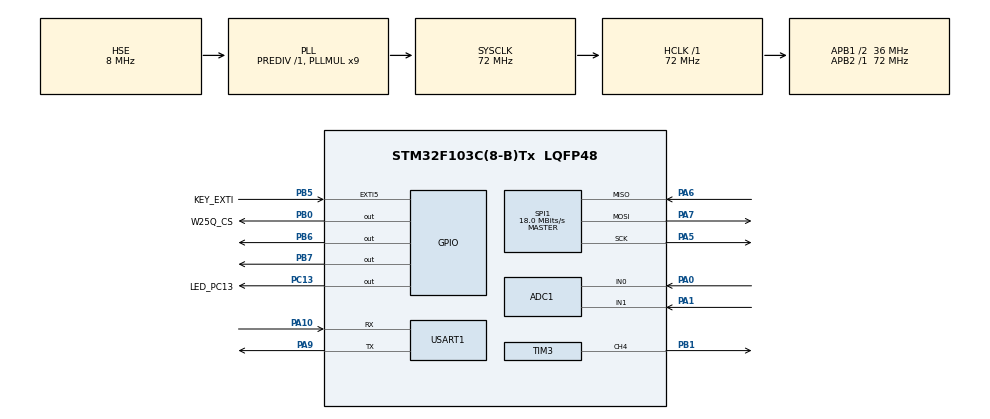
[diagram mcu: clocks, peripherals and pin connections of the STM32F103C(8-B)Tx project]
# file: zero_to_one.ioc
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ADC1.Channel-0\#ChannelRegularConversion=ADC_CHANNEL_0
ADC1.Channel-1\#ChannelRegularConversion=ADC_CHANNEL_1
ADC1.ExternalTrigConv=ADC_EXTERNALTRIGCONV_T1_CC1
ADC1.NbrOfConversion=2
ADC1.NbrOfConversionFlag=1
ADC1.Rank-0\#ChannelRegularConversion=1
ADC1.Rank-1\#ChannelRegularConversion=2
ADC1.SamplingTime-0\#ChannelRegularConversion=ADC_SAMPLETIME_55CYCLES_5
ADC1.SamplingTime-1\#ChannelRegularConversion=ADC_SAMPLETIME_55CYCLES_5
ADC1.master=1
Dma.ADC1.1.Direction=DMA_PERIPH_TO_MEMORY
Dma.ADC1.1.Instance=DMA1_Channel1
Dma.ADC1.1.MemDataAlignment=DMA_MDATAALIGN_HALFWORD
Dma.ADC1.1.MemInc=DMA_MINC_ENABLE
Dma.ADC1.1.Mode=DMA_CIRCULAR
Dma.ADC1.1.PeriphDataAlignment=DMA_PDATAALIGN_HALFWORD
Dma.ADC1.1.PeriphInc=DMA_PINC_DISABLE
Dma.ADC1.1.Priority=DMA_PRIORITY_HIGH
Dma.Request0=USART1_RX
Dma.Request1=ADC1
Dma.USART1_RX.0.Direction=DMA_PERIPH_TO_MEMORY
Dma.USART1_RX.0.Instance=DMA1_Channel5
Dma.USART1_RX.0.MemDataAlignment=DMA_MDATAALIGN_BYTE
Dma.USART1_RX.0.MemInc=DMA_MINC_ENABLE
Dma.USART1_RX.0.Mode=DMA_CIRCULAR
Dma.USART1_RX.0.PeriphDataAlignment=DMA_PDATAALIGN_BYTE
Dma.USART1_RX.0.PeriphInc=DMA_PINC_DISABLE
Dma.USART1_RX.0.Priority=DMA_PRIORITY_LOW
FREERTOS.Tasks01=defaultTask,0,128,StartDefaultTask,Default,NULL,Dynamic,NULL,NULL
FREERTOS.configTOTAL_HEAP_SIZE=8192
IWDG.Prescaler=IWDG_PRESCALER_256
IWDG.Reload=234
Mcu.Family=STM32F1
Mcu.Name=STM32F103C(8-B)Tx
Mcu.Package=LQFP48
NVIC.DMA1_Channel1_IRQn=true\:5\:0\:false\:false\:true\:true\:false\:true\:true
NVIC.DMA1_Channel5_IRQn=true\:5\:0\:false\:false\:true\:true\:false\:true\:true
NVIC.EXTI9_5_IRQn=true\:5\:0\:true\:false\:true\:true\:true\:true\:true
NVIC.PriorityGroup=NVIC_PRIORITYGROUP_4
NVIC.TIM2_IRQn=true\:5\:0\:false\:false\:true\:true\:true\:true\:true
NVIC.TIM4_IRQn=true\:15\:0\:false\:false\:true\:false\:false\:true\:true
NVIC.TimeBase=TIM4_IRQn
NVIC.TimeBaseIP=TIM4
NVIC.USART1_IRQn=true\:5\:0\:false\:false\:true\:true\:true\:true\:true
PA0-WKUP.Signal=ADCx_IN0
PA1.Signal=ADCx_IN1
PA10.Mode=Asynchronous
PA10.Signal=USART1_RX
PA13.Mode=Serial_Wire
PA13.Signal=SYS_JTMS-SWDIO
PA14.Mode=Serial_Wire
PA14.Signal=SYS_JTCK-SWCLK
PA5.Mode=Full_Duplex_Master
PA5.Signal=SPI1_SCK
PA6.Mode=Full_Duplex_Master
PA6.Signal=SPI1_MISO
PA7.Mode=Full_Duplex_Master
PA7.Signal=SPI1_MOSI
PA9.Mode=Asynchronous
PA9.Signal=USART1_TX
PB0.GPIO_Label=W25Q_CS
PB0.PinState=GPIO_PIN_SET
PB0.Signal=GPIO_Output
PB1.Signal=S_TIM3_CH4
PB5.GPIO_Label=KEY_EXTI
PB5.GPIO_ModeDefaultEXTI=GPIO_MODE_IT_FALLING
PB5.GPIO_PuPd=GPIO_PULLUP
PB5.Signal=GPXTI5
PB6.GPIO_ModeDefaultOutputPP=GPIO_MODE_OUTPUT_OD
PB6.GPIO_PuPd=GPIO_PULLUP
PB6.Signal=GPIO_Output
PB7.GPIO_ModeDefaultOutputPP=GPIO_MODE_OUTPUT_OD
PB7.GPIO_PuPd=GPIO_PULLUP
PB7.Signal=GPIO_Output
PC13-TAMPER-RTC.GPIO_Label=LED_PC13
PC13-TAMPER-RTC.Signal=GPIO_Output
PD0-OSC_IN.Mode=HSE-External-Oscillator
PD0-OSC_IN.Signal=RCC_OSC_IN
PD1-OSC_OUT.Mode=HSE-External-Oscillator
PD1-OSC_OUT.Signal=RCC_OSC_OUT
ProjectManager.HeapSize=0x200
ProjectManager.StackSize=0x400
ProjectManager.TargetToolchain=CMake
RCC.ADCPresc=RCC_ADCPCLK2_DIV6
RCC.AHBFreq_Value=72000000
RCC.APB1CLKDivider=RCC_HCLK_DIV2
RCC.APB1Freq_Value=36000000
RCC.APB1TimFreq_Value=72000000
RCC.APB2Freq_Value=72000000
RCC.APB2TimFreq_Value=72000000
RCC.HCLKFreq_Value=72000000
RCC.PLLMUL=RCC_PLL_MUL9
RCC.PLLSourceVirtual=RCC_PLLSOURCE_HSE
RCC.SYSCLKFreq_VALUE=72000000
RCC.SYSCLKSource=RCC_SYSCLKSOURCE_PLLCLK
RCC.USBFreq_Value=72000000
SH.ADCx_IN0.0=ADC1_IN0,IN0
SH.ADCx_IN1.0=ADC1_IN1,IN1
SH.S_TIM3_CH4.0=TIM3_CH4,PWM Generation4 CH4
SPI1.BaudRatePrescaler=SPI_BAUDRATEPRESCALER_4
SPI1.CalculateBaudRate=18.0 MBits/s
SPI1.Direction=SPI_DIRECTION_2LINES
SPI1.Mode=SPI_MODE_MASTER
SPI1.VirtualType=VM_MASTER
TIM1.Channel-PWM\ Generation1\ No\ Output=TIM_CHANNEL_1
TIM1.Period=999
TIM1.Prescaler=7199
TIM1.TIM_MasterOutputTrigger=TIM_TRGO_UPDATE
TIM2.AutoReloadPreload=TIM_AUTORELOAD_PRELOAD_ENABLE
TIM2.Period=9
TIM2.Prescaler=7199
TIM3.Channel-PWM\ Generation4\ CH4=TIM_CHANNEL_4
TIM3.OCPolarity_4=TIM_OCPOLARITY_LOW
TIM3.Period=999
TIM3.Prescaler=71
USART1.VirtualMode=VM_ASYNC
VP_FREERTOS_VS_CMSIS_V1.Mode=CMSIS_V1
VP_IWDG_VS_IWDG.Mode=IWDG_Activate
VP_SYS_VS_tim4.Mode=TIM4
VP_TIM1_VS_ClockSourceINT.Mode=Internal
VP_TIM1_VS_no_output1.Mode=PWM Generation1 No Output
VP_TIM2_VS_ClockSourceINT.Mode=Internal
board=custom

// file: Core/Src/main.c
/* USER CODE BEGIN Header */
/**
  ******************************************************************************
  * @file           : main.c
  * @brief          : Main program body
  ******************************************************************************
  * @attention
  *
  * Copyright (c) 2026 STMicroelectronics.
  * All rights reserved.
  *
  * This software is licensed under terms that can be found in the LICENSE file
  * in the root directory of this software component.
  * If no LICENSE file comes with this software, it is provided AS-IS.
  *
  ******************************************************************************
  */
/* USER CODE END Header */
#include "main.h"
#include "cmsis_os.h"
#include "adc.h"
#include "dma.h"
#include "iwdg.h"
#include "spi.h"
#include "tim.h"
#include "usart.h"
#include "gpio.h"

/* USER CODE BEGIN Includes */
#include "key.h"
#include "console.h"
#include "watchdog.h"   /* 阶段4：WDG_Feed 由 TIM2 节拍 ISR 调用 */
#include "ssd1306.h"   /* 阶段5：OLED 驱动 + UI 层（SSD1306_UI_*） */
#include "mpu6050.h"   /* 阶段6：MPU6050 I2C 驱动（Init/SelfTest/ReadAll/Begin/Process） */
#include "soft_i2c.h"  /* 阶段3：软件 I2C 驱动（替代硬件 I2C，消除 BUSY 锁死） */
#include "env.h"       /* 阶段7：温度/光照采集（ENV_Init / ENV_Process / g_env） */
/* USER CODE END Includes */

/* USER CODE BEGIN PV */
/* 按键相关状态已封装到 key.c（key.h 提供 Key_Init / Key_Process / Key_EXTI_Callback 接口） */
volatile uint32_t g_systick_ms = 0;   /* TIM2 1ms 节拍计数器，由 HAL_TIM_PeriodElapsedCallback 累加 */
volatile uint32_t g_main_feed_ms = 0;   /* 主循环活体时间戳：每圈正常跑完即刷新；喂狗门控据此判断是否卡死 */
/* 注：g_mpu / g_mpu_ok 已下沉到 mpu6050.c（见 mpu6050.h 的 extern 声明），供 UI/控制台使用 */
/* USER CODE END PV */

void SystemClock_Config(void);
void MX_FREERTOS_Init(void);
/* USER CODE BEGIN PFP */
/* 蜂鸣器驱动已独立成 buzzzer.c（Buzzer_On/Buzzer_Off/Buzzer_Beep/Buzzer_Process，
 * TIM3_CH4 PWM），由 key.c 与 console.c 通过 buzzer.h 调用 */
/* USER CODE END PFP */

int main(void)
{

  /* MCU Configuration--------------------------------------------------------*/

  /* Reset of all peripherals, Initializes the Flash interface and the Systick. */
  HAL_Init();

  /* Configure the system clock */
  SystemClock_Config();

  /* Initialize all configured peripherals */
  MX_GPIO_Init();
  MX_DMA_Init();
  MX_USART1_UART_Init();
  MX_TIM2_Init();
  MX_TIM3_Init();
  MX_IWDG_Init();
  MX_SPI1_Init();
  MX_ADC1_Init();
  MX_TIM1_Init();
  /* USER CODE BEGIN 2 */
  Key_Init();                          /* 初始化按键模块（状态机/报警标志清零） */
  Console_RxStart();                   /* 启动 USART1 RX（IDLE+DMA 收帧） */
  SOFT_I2C_Init();                     /* 阶段3：配置 PB6/SCL、PB7/SDA 为开漏输出并释放总线（软件 I2C） */
  SSD1306_UI_Init();                   /* 初始化 SSD1306 OLED（英文/ASCII 显示） */
  Console_Printf("\r\n==== MiniBlackBox USART1 Shell ====\r\n");
  Console_Printf("baud 115200 8N1, RX=IDLE+DMA. type 'help'.\r\n");

  /* 阶段6：MPU6050 初始化检测（唤醒+识别），失败每 5s 重试由 MPU6050_Process 处理 */
  MPU6050_Begin();

  /* 阶段7：启动 TIM1 触发 + ADC1 DMA 循环采集（温度/光照）。
   * 须在 MX_ADC1_Init / MX_TIM1_Init（CubeMX 生成，见上方 USER CODE 2 之前的初始化块）
   * 之后调用。DMA 循环在后台持续搬运，envTask 负责消费。 */
  ENV_Init();

  /* 阶段3：启动系统节拍与蜂鸣器 PWM（PB1=TIM3_CH4） */
  HAL_TIM_Base_Start_IT(&htim2);                    /* TIM2 1ms 节拍中断 -> 累加 g_systick_ms */
  HAL_TIM_PWM_Start(&htim3, TIM_CHANNEL_4);         /* 蜂鸣器 PWM 运行，占空比初始 0 = 静音 */
  g_main_feed_ms = g_systick_ms;   /* 启动时先打一次活体标记，避免上电初期 TIM2 节拍未起时误判卡死 */

  /* 阶段4：调试期冻结 IWDG——ST-LINK 暂停在断点时看门狗不计数，
   * 避免"断点被狗咬"误复位。仅调试器连接时生效，正常运行照常喂狗自愈。 */
  __HAL_DBGMCU_FREEZE_IWDG();
  /* USER CODE END 2 */

  /* Call init function for freertos objects (in cmsis_os2.c) */
  MX_FREERTOS_Init();

  /* Start scheduler */
  osKernelStart();

  /* We should never get here as control is now taken by the scheduler */

  /* Infinite loop */
  while (1)
  {

    /* USER CODE BEGIN 3 */
    /* ==== Phase 1（FreeRTOS 迁移）：本块已不可达 ====
     * osKernelStart() 之后控制权交给调度器，永不回到这个 while(1)。
     * 原先四个 Process 调用已下线，功能按分期迁到各自任务：
     *   Key_Process()        -> 已并入 Phase 4 按键任务（keyTask 循环调用）
     *   Console_Process()    -> Phase 2 串口任务
     *   SSD1306_UI_Process() -> Phase 3 显示任务
     *   MPU6050_Process()    -> 并入 Phase 3 OLED 任务循环（FreeRTOS 堆 8KB 已扩，
     *                          但并入 OLED 任务最省资源；两者同走 i2c_mutex 串行化）
     * 活体喂狗（g_main_feed_ms）改由默认任务每 500ms 刷新（PC13 心跳已移交 keyTask）。 */
  }                                        /* while(1) 闭合 */
  /* USER CODE END 3 */
}

void SystemClock_Config(void)
{
  RCC_OscInitTypeDef RCC_OscInitStruct = {0};
  RCC_ClkInitTypeDef RCC_ClkInitStruct = {0};
  RCC_PeriphCLKInitTypeDef PeriphClkInit = {0};

  /** Initializes the RCC Oscillators according to the specified parameters
  * in the RCC_OscInitTypeDef structure.
  */
  RCC_OscInitStruct.OscillatorType = RCC_OSCILLATORTYPE_LSI|RCC_OSCILLATORTYPE_HSE;
  RCC_OscInitStruct.HSEState = RCC_HSE_ON;
  RCC_OscInitStruct.HSEPredivValue = RCC_HSE_PREDIV_DIV1;
  RCC_OscInitStruct.HSIState = RCC_HSI_ON;
  RCC_OscInitStruct.LSIState = RCC_LSI_ON;
  RCC_OscInitStruct.PLL.PLLState = RCC_PLL_ON;
  RCC_OscInitStruct.PLL.PLLSource = RCC_PLLSOURCE_HSE;
  RCC_OscInitStruct.PLL.PLLMUL = RCC_PLL_MUL9;
  if (HAL_RCC_OscConfig(&RCC_OscInitStruct) != HAL_OK)
  {
    Error_Handler();
  }

  /** Initializes the CPU, AHB and APB buses clocks
  */
  RCC_ClkInitStruct.ClockType = RCC_CLOCKTYPE_HCLK|RCC_CLOCKTYPE_SYSCLK
                              |RCC_CLOCKTYPE_PCLK1|RCC_CLOCKTYPE_PCLK2;
  RCC_ClkInitStruct.SYSCLKSource = RCC_SYSCLKSOURCE_PLLCLK;
  RCC_ClkInitStruct.AHBCLKDivider = RCC_SYSCLK_DIV1;
  RCC_ClkInitStruct.APB1CLKDivider = RCC_HCLK_DIV2;
  RCC_ClkInitStruct.APB2CLKDivider = RCC_HCLK_DIV1;

  if (HAL_RCC_ClockConfig(&RCC_ClkInitStruct, FLASH_LATENCY_2) != HAL_OK)
  {
    Error_Handler();
  }
  PeriphClkInit.PeriphClockSelection = RCC_PERIPHCLK_ADC;
  PeriphClkInit.AdcClockSelection = RCC_ADCPCLK2_DIV6;
  if (HAL_RCCEx_PeriphCLKConfig(&PeriphClkInit) != HAL_OK)
  {
    Error_Handler();
  }
}

/* USER CODE BEGIN 4 */
/* PB5/EXTI5 按键中断回调：ISR 保持极简——只把边沿交给按键模块，消抖与状态处理放到主循环做（契合"中断收数、主循环处理"原则） */
void HAL_GPIO_EXTI_Callback(uint16_t GPIO_Pin)
{
  Key_EXTI_Callback(GPIO_Pin);   /* 路由到 key.c 的按键模块 */
}

/* 说明（FreeRTOS 迁移）：TIM2 节拍与 IWDG 喂狗逻辑已合并进本文件末尾
 * CubeMX 生成的时间基准回调 HAL_TIM_PeriodElapsedCallback() 的
 * "USER CODE BEGIN Callback 0" 受保护块内。
 * 原因：启用 FreeRTOS 后 HAL 时基源改为 TIM4，CubeMX 会在 main.c 生成它自己的
 * HAL_TIM_PeriodElapsedCallback；若此处再定义一份同名强函数，同一编译单元重复定义，
 * 编译报 "redefinition of 'HAL_TIM_PeriodElapsedCallback'"。
 * ⚠ 若将来把时基源改回 SysTick，CubeMX 会连同该回调一起删掉，届时需把 TIM2 逻辑
 *   从 Callback 0 块搬回本处。 */
/* USER CODE END 4 */

void HAL_TIM_PeriodElapsedCallback(TIM_HandleTypeDef *htim)
{
  /* USER CODE BEGIN Callback 0 */
  /* TIM2 1ms 节拍中断：仅累加系统节拍，长逻辑留给任务/主循环
   * （契合"中断收数、主循环处理"原则）。
   * 说明：启用 FreeRTOS 后 HAL 时基源由 SysTick 改为 TIM4，CubeMX 会在本回调内
   * 处理 TIM4(HAL_IncTick)；用户侧的中断逻辑因此必须写在这个受保护的 USER CODE 块里，
   * 不能再单独定义一个同名函数（同一编译单元重复定义会编译报
   * "redefinition of 'HAL_TIM_PeriodElapsedCallback'"，详见文件末尾 USER CODE 4 的说明）。 */
  if (htim->Instance == TIM2)
  {
    g_systick_ms++;
    /* 阶段4：IWDG 喂狗——每 500ms 喂一次（远小于 1.5s 超时）。
     * 关键：用"活体门控"——只有当 g_main_feed_ms（由默认任务心跳每 500ms 刷新）
     * 近期（<1s）仍被正常刷新才喂狗；否则认为系统卡死，停止喂狗，
     * 让 IWDG 在 1.5s 超时后自动复位 MCU，实现"死机自愈"。
     * 此前把 WDG_Feed 无条件放中断里会导致主循环卡死时中断照常喂狗、看门狗彻底失效。 */
    static uint32_t last_feed_ms = 0;
    if (g_systick_ms - last_feed_ms >= 500U)
    {
      last_feed_ms = g_systick_ms;
      if (g_systick_ms - g_main_feed_ms < 1000U)
      {
        WDG_Feed();
      }
    }
  }
  /* USER CODE END Callback 0 */
  if (htim->Instance == TIM4)
  {
    HAL_IncTick();
  }
}

void Error_Handler(void)
{
  __disable_irq();
  while (1)
  {
  }
}

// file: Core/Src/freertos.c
/* USER CODE BEGIN Header */
/**
  ******************************************************************************
  * File Name          : freertos.c
  * Description        : Code for freertos applications
  ******************************************************************************
  * @attention
  *
  * Copyright (c) 2026 STMicroelectronics.
  * All rights reserved.
  *
  * This software is licensed under terms that can be found in the LICENSE file
  * in the root directory of this software component.
  * If no LICENSE file comes with this software, it is provided AS-IS.
  *
  ******************************************************************************
  */
/* USER CODE END Header */

#include "FreeRTOS.h"
#include "task.h"
#include "main.h"
#include "cmsis_os.h"

/* USER CODE BEGIN Includes */
/* main.c 中定义的系统侧全局量（USER CODE PV 段，非 static，可 extern 引用） */
extern volatile uint32_t g_systick_ms;    /* TIM2 1ms 节拍计数器 */
extern volatile uint32_t g_main_feed_ms;  /* 系统"活体"时间戳：IWDG 喂狗门控用 */
#include "console.h"   /* Console_Process：Phase 2 串口任务周期性调用的命令行处理 */
#include "ssd1306.h"   /* SSD1306_UI_Process：Phase 3 OLED 显示任务 */
#include "mpu6050.h"   /* MPU6050_Process：周期性采样 g_mpu，供 OLED 三轴屏显示 */
#include "key.h"       /* Key_Process：Phase 4 按键任务周期性调用，驱动 PC13 LED/报警 */
#include "env.h"        /* ENV_Process：Phase 7 环境采集任务，更新 g_env 供 OLED 显示 */
/* USER CODE END Includes */

/* USER CODE BEGIN Variables */
osThreadId consoleTaskHandle;   /* Phase 2：Console 串口任务句柄 */
osThreadId oledTaskHandle;      /* Phase 3：OLED 显示任务句柄 */
osThreadId keyTaskHandle;       /* Phase 4：按键任务句柄（驱动 PC13 LED/报警状态机） */
osThreadId envTaskHandle;        /* Phase 7：环境采集任务句柄（ADC DMA 消费 + g_env 更新） */
osMutexId  i2c_mutexHandle;     /* I2C 总线互斥锁：串行化 OLED/MPU6050 共享总线访问 */
/* USER CODE END Variables */
osThreadId defaultTaskHandle;

/* USER CODE BEGIN FunctionPrototypes */
void StartConsoleTask(void const * argument);   /* Phase 2：Console 串口任务入口 */
void StartOledTask(void const * argument);       /* Phase 3：OLED 显示任务入口 */
void StartKeyTask(void const * argument);        /* Phase 4：按键任务入口 */
void StartEnvTask(void const * argument);         /* Phase 7：环境采集任务入口（ENV_Process） */
/* USER CODE END FunctionPrototypes */

void StartDefaultTask(void const * argument);

void MX_FREERTOS_Init(void); /* (MISRA C 2004 rule 8.1) */

/* GetIdleTaskMemory prototype (linked to static allocation support) */
void vApplicationGetIdleTaskMemory( StaticTask_t **ppxIdleTaskTCBBuffer, StackType_t **ppxIdleTaskStackBuffer, uint32_t *pulIdleTaskStackSize );

/* USER CODE BEGIN GET_IDLE_TASK_MEMORY */
static StaticTask_t xIdleTaskTCBBuffer;
static StackType_t xIdleStack[configMINIMAL_STACK_SIZE];

void vApplicationGetIdleTaskMemory( StaticTask_t **ppxIdleTaskTCBBuffer, StackType_t **ppxIdleTaskStackBuffer, uint32_t *pulIdleTaskStackSize )
{
  *ppxIdleTaskTCBBuffer = &xIdleTaskTCBBuffer;
  *ppxIdleTaskStackBuffer = &xIdleStack[0];
  *pulIdleTaskStackSize = configMINIMAL_STACK_SIZE;
  /* place for user code */
}
/* USER CODE END GET_IDLE_TASK_MEMORY */

void MX_FREERTOS_Init(void) {

  /* USER CODE BEGIN RTOS_MUTEX */
  /* I2C 总线互斥锁：OLED 任务与 MPU6050 任务（Phase 4）共享 PB6/PB7 总线，
   * 用它串行化访问，避免两任务交错传输互相打断导致花屏。
   * 内核启动前 i2c_mutexHandle=NULL，i2c.c 据此跳过加锁（兼容启动前初始化）。 */
  osMutexDef(i2cMutex);
  i2c_mutexHandle = osMutexCreate(osMutex(i2cMutex));
  /* USER CODE END RTOS_MUTEX */

  /* Create the thread(s) */
  /* definition and creation of defaultTask */
  osThreadDef(defaultTask, StartDefaultTask, osPriorityNormal, 0, 128);
  defaultTaskHandle = osThreadCreate(osThread(defaultTask), NULL);

  /* USER CODE BEGIN RTOS_THREADS */
  /* Phase 2：Console 串口任务 —— 周期性调用 Console_Process 处理 RX 环形缓冲里的命令行。
   * ISR(DMA+IDLE) 仅做硬件层收数，不调任何 RTOS API（零耦合、零 HardFault 风险）；
   * 本任务以轮询方式（约 100Hz）取字节，平移"中断收数、主循环处理"为"中断收数、任务处理"。 */
  osThreadDef(consoleTask, StartConsoleTask, osPriorityNormal, 0, 384);
  consoleTaskHandle = osThreadCreate(osThread(consoleTask), NULL);

  /* Phase 3：OLED 显示任务 —— 周期性调用 SSD1306_UI_Process 重绘状态屏/MPU 屏。
   * 屏内刷新（SSD1306_Refresh）经 I2C1_SafeMemWrite 走软件 I2C，互斥锁保证
   * 与后续 MPU6050 任务不抢总线。栈 384 words 与 Console 任务同级。 */
  osThreadDef(oledTask, StartOledTask, osPriorityNormal, 0, 384);
  oledTaskHandle = osThreadCreate(osThread(oledTask), NULL);

  /* Phase 4：按键任务 —— 周期性调用 Key_Process() 推进按键状态机并驱动 PC13 LED。
   * EXTI9_5 中断（PB5 按键）仅置 s_key_irq 边沿标志（ISR 不调任何 RTOS API），
   * 本任务以约 100Hz 轮询消费，平移"裸机轮询"为"任务轮询"，最简最稳。
   * 栈 128 words 足够（状态机 + Buzzer_Process + 几个局部量）；优先级与串口/OLED 同级。 */
  osThreadDef(keyTask, StartKeyTask, osPriorityNormal, 0, 128);
  keyTaskHandle = osThreadCreate(osThread(keyTask), NULL);

  /* Phase 7：环境采集任务 —— 周期性调用 ENV_Process() 消费 DMA 半/全完成标志，
   * 做温度/光照换算 + 突变检测，更新 g_env（供 OLED 环境屏显示，供阶段8/9 消费）。
   * ADC 采集本身由 TIM1 触发 + DMA 循环完成，本任务零轮询硬件、只在标志置位时计算。
   * 栈 192 words 足够（平均循环 + 几个局部量，换算为纯整型无浮点）；优先级与同级。 */
  osThreadDef(envTask, StartEnvTask, osPriorityNormal, 0, 192);
  envTaskHandle = osThreadCreate(osThread(envTask), NULL);
  /* USER CODE END RTOS_THREADS */

}

void StartDefaultTask(void const * argument)
{
  /* USER CODE BEGIN StartDefaultTask */
  /* Phase 1 心跳任务（Phase 4 起职责收窄）：
   * 唯一保留职责 —— 每 500ms 刷新 g_main_feed_ms，供 TIM2 ISR 里的喂狗门控放行
   * （任务活着 -> 喂狗；任务卡死 -> 停止喂狗 -> IWDG 1.5s 超时复位）。
   * ⚠ 喂狗门控这一行必须保留，否则 IWDG 会超时复位！
   * PC13(LED) 的心跳翻转已自 Phase 4 起移交给 keyTask（Key_Process 驱动），
   * 此处不再触碰 PC13，避免与按键模块的 LED 逻辑争抢同一引脚。 */
  for(;;)
  {
    g_main_feed_ms = g_systick_ms;
    osDelay(500);
  }
  /* USER CODE END StartDefaultTask */
}

/* USER CODE BEGIN Application */

/* Phase 2：Console 串口任务
 * 周期性调用 Console_Process()：读 UART RX 环形缓冲、解析命令行、回显、5s 心跳日志、
 * mpu 持续打印流。RX 已在 main.c(USER CODE 2) 经 Console_RxStart() 武装(IDLE+DMA)，
 * 此处不再重复初始化。
 * osDelay(10) 让出 CPU（约 100Hz 轮询），交互延迟 <10ms 足够；期间其它任务/ISR 正常跑。
 * ⚠ 设计说明：刻意不采用"IDLE ISR 内 xTaskNotifyFromISR 唤醒任务"方案——
 * 那样 ISR 需调 RTOS API，须满足 configLIBRARY_MAX_SYSCALL_INTERRUPT_PRIORITY 约束
 * 且易踩 HardFault；轮询式只在任务上下文运行，最简最稳，契合本项目既有的ISR极简哲学。 */
void StartConsoleTask(void const * argument)
{
  (void)argument;
  for (;;)
  {
    Console_Process();
    osDelay(10);
  }
}
/* Phase 3：OLED 显示任务
 * 周期性调用 SSD1306_UI_Process()：其内部按自身节拍（状态屏 1s / MPU 屏 500ms /
 * 两屏每 4s 切换）重绘并刷屏。刷屏走软件 I2C（i2c.c 互斥锁串行化）。
 * 同时在本循环里调用 MPU6050_Process() 周期性采样 g_mpu（每 100ms 读 14 字节），
 * 供 OLED 三轴屏显示——Phase 4 原计划的独立 MPU 任务因 configTOTAL_HEAP_SIZE=4096
 * 太小、加任务易挤爆堆，故把采样并入 OLED 任务（两者都走 i2c_mutex 串行化，
 * 同一任务内顺序执行不抢总线，最省资源）。
 * osDelay(10) 让出 CPU（约 100Hz 轮询），交互延迟 <10ms 足够。 */
void StartOledTask(void const * argument)
{
  (void)argument;
  for (;;)
  {
    MPU6050_Process();    /* 采样 g_mpu（缺省每 100ms 一次），先于显示使其最新 */
    SSD1306_UI_Process();
    osDelay(10);
  }
}
/* Phase 4：按键任务
 * 周期性调用 Key_Process()：消费 EXTI9_5 边沿标志、推进按键状态机、驱动 PC13 LED
 * （正常态 1Hz 闪烁 = 系统存活证据；报警态常亮 = 蜂鸣器+LED 报警）。
 * 自 Phase 4 起，PC13 的归属从 defaultTask 移交给本任务，消除两模块争抢同一引脚
 * （此前 defaultTask 500ms 翻转 PC13，与 Key_Process 的 LED 逻辑冲突，导致 led on/off
 * 命令行为错乱）。defaultTask 只保留喂狗门控（g_main_feed_ms 刷新），不再碰 PC13。
 * osDelay(10) 让出 CPU（约 100Hz 轮询），交互延迟 <10ms 足够。 */
void StartKeyTask(void const * argument)
{
  (void)argument;
  for (;;)
  {
    Key_Process();
    osDelay(10);
  }
}
/* Phase 7：环境采集任务
 * 周期性调用 ENV_Process()：消费 DMA 半/全完成标志（ISR 置位），对刚稳定的半缓冲求
 * 两通道平均 → ADC_ToTemp/ADC_ToLight 换算 → Light_SuddenChangeDetect 突变检测 → 写 g_env。
 * osDelay(10) 让出 CPU（约 100Hz 轮询标志）；DMA 在后台持续搬运，采集零 CPU 占用。
 * 注：TIM1 触发 + ADC DMA 循环已在 main.c(USER CODE 2) 经 ENV_Init() 武装，此处只做消费。 */
void StartEnvTask(void const * argument)
{
  (void)argument;
  for (;;)
  {
    ENV_Process();
    osDelay(10);
  }
}
/* USER CODE END Application */
